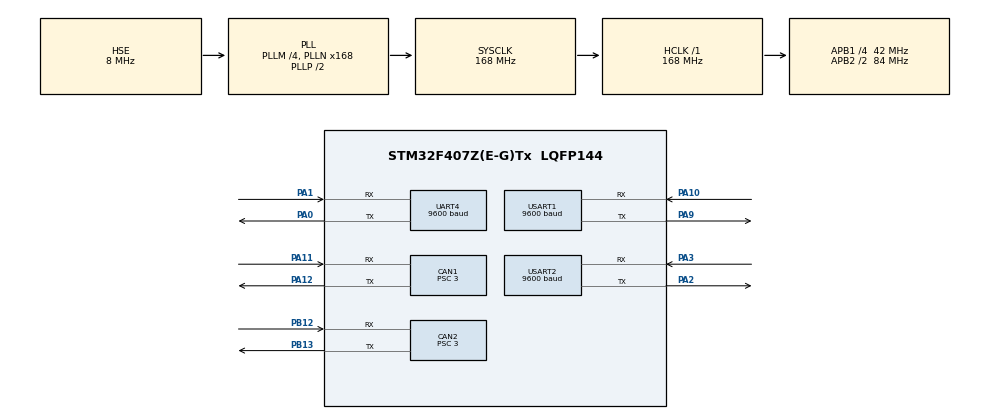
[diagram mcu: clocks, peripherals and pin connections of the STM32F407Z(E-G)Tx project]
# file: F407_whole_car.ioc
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CAN1.BS1=CAN_BS1_12TQ
CAN1.CalculateBaudRate=1000000
CAN1.CalculateTimeBit=1000
CAN1.CalculateTimeQuantum=71.42857142857143
CAN1.Prescaler=3
CAN2.BS1=CAN_BS1_12TQ
CAN2.CalculateBaudRate=1000000
CAN2.CalculateTimeBit=1000
CAN2.CalculateTimeQuantum=71.42857142857143
CAN2.Prescaler=3
Mcu.Family=STM32F4
Mcu.Name=STM32F407Z(E-G)Tx
Mcu.Package=LQFP144
NVIC.CAN1_RX0_IRQn=true\:0\:0\:true\:false\:true\:true\:true\:true
NVIC.CAN1_RX1_IRQn=true\:0\:0\:false\:false\:true\:true\:true\:true
NVIC.CAN1_SCE_IRQn=true\:0\:0\:false\:false\:true\:true\:true\:true
NVIC.CAN1_TX_IRQn=true\:0\:0\:false\:false\:true\:true\:true\:true
NVIC.CAN2_RX0_IRQn=true\:0\:0\:false\:false\:true\:true\:true\:true
NVIC.CAN2_TX_IRQn=true\:0\:0\:false\:false\:true\:true\:true\:true
NVIC.PriorityGroup=NVIC_PRIORITYGROUP_4
NVIC.TIM2_IRQn=true\:0\:0\:false\:false\:true\:true\:true\:true
NVIC.UART4_IRQn=true\:1\:0\:true\:false\:true\:true\:true\:true
NVIC.USART1_IRQn=true\:1\:0\:true\:false\:true\:true\:true\:true
NVIC.USART2_IRQn=true\:0\:0\:false\:false\:true\:true\:true\:true
PA0-WKUP.Mode=Asynchronous
PA0-WKUP.Signal=UART4_TX
PA1.Mode=Asynchronous
PA1.Signal=UART4_RX
PA10.Mode=Asynchronous
PA10.Signal=USART1_RX
PA11.Mode=CAN_Activate
PA11.Signal=CAN1_RX
PA12.Mode=CAN_Activate
PA12.Signal=CAN1_TX
PA13.Mode=Serial_Wire
PA13.Signal=SYS_JTMS-SWDIO
PA14.Mode=Serial_Wire
PA14.Signal=SYS_JTCK-SWCLK
PA2.Mode=Asynchronous
PA2.Signal=USART2_TX
PA3.Mode=Asynchronous
PA3.Signal=USART2_RX
PA9.Mode=Asynchronous
PA9.Signal=USART1_TX
PB12.Mode=CAN_Activate
PB12.Signal=CAN2_RX
PB13.Mode=CAN_Activate
PB13.Signal=CAN2_TX
PH0-OSC_IN.Mode=HSE-External-Oscillator
PH0-OSC_IN.Signal=RCC_OSC_IN
PH1-OSC_OUT.Mode=HSE-External-Oscillator
PH1-OSC_OUT.Signal=RCC_OSC_OUT
ProjectManager.HeapSize=0x200
ProjectManager.StackSize=0x400
ProjectManager.TargetToolchain=MDK-ARM V5.32
RCC.48MHZClocksFreq_Value=84000000
RCC.AHBFreq_Value=168000000
RCC.APB1CLKDivider=RCC_HCLK_DIV4
RCC.APB1Freq_Value=42000000
RCC.APB1TimFreq_Value=84000000
RCC.APB2CLKDivider=RCC_HCLK_DIV2
RCC.APB2Freq_Value=84000000
RCC.APB2TimFreq_Value=168000000
RCC.CortexFreq_Value=168000000
RCC.HCLKFreq_Value=168000000
RCC.HSE_VALUE=8000000
RCC.HSI_VALUE=16000000
RCC.LSE_VALUE=32768
RCC.PLLM=4
RCC.PLLN=168
RCC.PLLSourceVirtual=RCC_PLLSOURCE_HSE
RCC.SYSCLKFreq_VALUE=168000000
RCC.SYSCLKSource=RCC_SYSCLKSOURCE_PLLCLK
RCC.VCOOutputFreq_Value=336000000
TIM2.Period=1000
TIM2.Prescaler=168
UART4.BaudRate=9600
UART4.VirtualMode=Asynchronous
USART1.BaudRate=9600
USART1.VirtualMode=VM_ASYNC
USART2.BaudRate=9600
USART2.VirtualMode=VM_ASYNC
VP_TIM2_VS_ClockSourceINT.Mode=Internal
board=custom

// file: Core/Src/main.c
/* USER CODE BEGIN Header */
/**
  ******************************************************************************
  * @file           : main.c
  * @brief          : Main program body
  ******************************************************************************
  * @attention
  *
  * Copyright (c) 2025 STMicroelectronics.
  * All rights reserved.
  *
  * This software is licensed under terms that can be found in the LICENSE file
  * in the root directory of this software component.
  * If no LICENSE file comes with this software, it is provided AS-IS.
  *
  ******************************************************************************
  */
/* USER CODE END Header */
#include "main.h"
#include "can.h"
#include "tim.h"
#include "usart.h"
#include "gpio.h"

/* USER CODE BEGIN Includes */
#include "include.h"
/* USER CODE END Includes */

void SystemClock_Config(void);

int main(void)
{

  /* MCU Configuration--------------------------------------------------------*/

  /* Reset of all peripherals, Initializes the Flash interface and the Systick. */
  HAL_Init();

  /* Configure the system clock */
  SystemClock_Config();

  /* Initialize all configured peripherals */
  MX_GPIO_Init();
  MX_CAN1_Init();
  MX_CAN2_Init();
  MX_USART1_UART_Init();
  MX_TIM2_Init();
  MX_USART2_UART_Init();
  MX_UART4_Init();
  /* USER CODE BEGIN 2 */

  user_init();

  /* USER CODE END 2 */

  /* Infinite loop */
  /* USER CODE BEGIN WHILE */

//  set_vl_omega(vl_omega,0);
//  set_velocity(&tool_v,receive_data[0],receive_data[1]);
//  set_vl_wheel(vl_wheel_ave,tool_v,0,0);
	while(1)
	{

		if(time_up)
		{

			switch (run_mode)
			{

				case DEAL_DATA_AS_SPEED_IN_LOCAL_COORDINATE_SYSTEM:
				{
					local_velocity_mode_run();

				}break;

				case DEAL_DATA_AS_SPEED_IN_WORLD_COORDINATE_SYSTEM:
				{

					world_velocity_mode_run();

				}break;

				case DEAL_DATA_AS_DISPLACEMENT:
				{

					world_displacement_mode_run();

				}break;
				default:break;

			}

			cybergear_control();
			msg_control();
			delta_control();

			time_up=0;
		}

    /* USER CODE END WHILE */

	}
}

void SystemClock_Config(void)
{
  RCC_OscInitTypeDef RCC_OscInitStruct = {0};
  RCC_ClkInitTypeDef RCC_ClkInitStruct = {0};

  /** Configure the main internal regulator output voltage
  */
  __HAL_RCC_PWR_CLK_ENABLE();
  __HAL_PWR_VOLTAGESCALING_CONFIG(PWR_REGULATOR_VOLTAGE_SCALE1);

  /** Initializes the RCC Oscillators according to the specified parameters
  * in the RCC_OscInitTypeDef structure.
  */
  RCC_OscInitStruct.OscillatorType = RCC_OSCILLATORTYPE_HSE;
  RCC_OscInitStruct.HSEState = RCC_HSE_ON;
  RCC_OscInitStruct.PLL.PLLState = RCC_PLL_ON;
  RCC_OscInitStruct.PLL.PLLSource = RCC_PLLSOURCE_HSE;
  RCC_OscInitStruct.PLL.PLLM = 4;
  RCC_OscInitStruct.PLL.PLLN = 168;
  RCC_OscInitStruct.PLL.PLLP = RCC_PLLP_DIV2;
  RCC_OscInitStruct.PLL.PLLQ = 4;
  if (HAL_RCC_OscConfig(&RCC_OscInitStruct) != HAL_OK)
  {
    Error_Handler();
  }

  /** Initializes the CPU, AHB and APB buses clocks
  */
  RCC_ClkInitStruct.ClockType = RCC_CLOCKTYPE_HCLK|RCC_CLOCKTYPE_SYSCLK
                              |RCC_CLOCKTYPE_PCLK1|RCC_CLOCKTYPE_PCLK2;
  RCC_ClkInitStruct.SYSCLKSource = RCC_SYSCLKSOURCE_PLLCLK;
  RCC_ClkInitStruct.AHBCLKDivider = RCC_SYSCLK_DIV1;
  RCC_ClkInitStruct.APB1CLKDivider = RCC_HCLK_DIV4;
  RCC_ClkInitStruct.APB2CLKDivider = RCC_HCLK_DIV2;

  if (HAL_RCC_ClockConfig(&RCC_ClkInitStruct, FLASH_LATENCY_5) != HAL_OK)
  {
    Error_Handler();
  }
}

void Error_Handler(void)
{
  __disable_irq();
  while (1)
  {
  }
}
